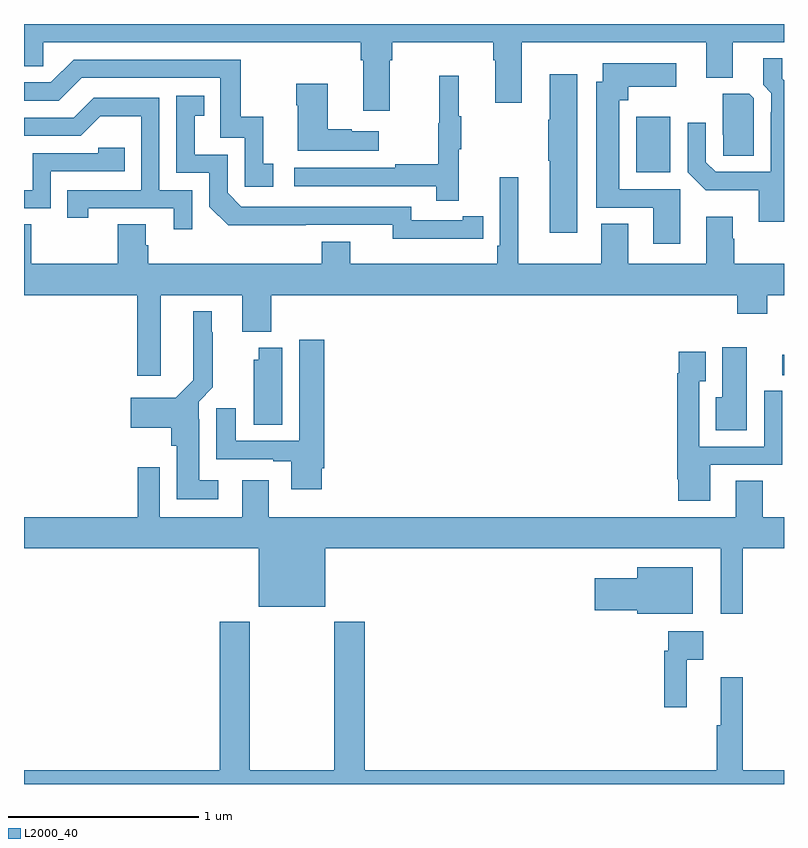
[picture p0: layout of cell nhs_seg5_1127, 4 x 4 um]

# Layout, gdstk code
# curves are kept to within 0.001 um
import gdstk
lib = gdstk.Library(unit=1e-6, precision=1e-09)
def R(c, l, rs):  # rectangles x0, y0, x1, y1
    for r in rs: c.add(gdstk.rectangle(r[:2], r[2:], *l))
def P(c, l, *ps):  # polygons
    for p in ps: c.add(gdstk.Polygon(p, *l))
L2000_40 = (2000, 40)

nhs_seg5_1127 = lib.new_cell('nhs_seg5_1127')
R(nhs_seg5_1127, L2000_40, [(182.991,910.95,183,911.059), (182.222,912.02,182.401,912.31)])
P(nhs_seg5_1127, L2000_40, [(180.925,912.608),(180.938,912.608),(180.938,912.704),(181.469,912.704),(181.469,912.608),(181.481,912.608),(181.481,912.384),(181.621,912.384),(181.621,912.704),(182.591,912.704),(182.591,912.517),(182.731,912.517),(182.731,912.704),(183,912.704),(183,912.799),(179,912.799),(179,912.577),(179.1,912.577),(179.1,912.704),(180.773,912.704),(180.773,912.608),(180.785,912.608),(180.785,912.342),(180.925,912.342)],
  [(183,912.504),(182.992,912.512),(182.992,912.619),(182.891,912.619),(182.891,912.478),(182.934,912.435),(182.934,912.335),(182.931,912.335),(182.931,912.021),(182.64,912.021),(182.589,912.072),(182.589,912.28),(182.493,912.28),(182.493,912.018),(182.587,911.924),(182.867,911.924),(182.867,911.757),(183,911.757)],
  [(180.313,912.063),(180.26,912.063),(180.26,912.31),(180.142,912.31),(180.142,912.612),(179.262,912.612),(179.142,912.492),(179,912.492),(179,912.396),(179.184,912.396),(179.304,912.516),(180.033,912.516),(180.033,912.201),(180.162,912.201),(180.162,911.943),(180.313,911.943)],
  [(182.455,911.928),(182.134,911.928),(182.134,912.398),(182.179,912.398),(182.179,912.47),(182.434,912.47),(182.434,912.592),(182.045,912.592),(182.045,912.496),(182.012,912.496),(182.012,911.832),(182.312,911.832),(182.312,911.643),(182.455,911.643)],
  [(181.912,912.535),(181.766,912.535),(181.766,912.296),(181.759,912.296),(181.759,912.079),(181.766,912.079),(181.766,911.7),(181.912,911.7)],
  [(181.289,912.139),(181.3,912.139),(181.3,912.313),(181.289,912.313),(181.289,912.526),(181.186,912.526),(181.186,912.276),(181.179,912.276),(181.179,912.062),(180.955,912.062),(180.955,912.042),(180.423,912.042),(180.423,911.946),(181.171,911.946),(181.171,911.868),(181.289,911.868)],
  [(180.868,912.235),(180.725,912.235),(180.725,912.245),(180.598,912.245),(180.598,912.484),(180.433,912.484),(180.433,912.371),(180.44,912.371),(180.44,912.131),(180.868,912.131)],
  [(182.841,912.408),(182.817,912.432),(182.678,912.432),(182.678,912.217),(182.679,912.217),(182.679,912.106),(182.841,912.106)],
  [(181.31,911.67),(181.418,911.67),(181.418,911.786),(181.31,911.786),(181.31,911.766),(181.038,911.766),(181.038,911.838),(180.144,911.838),(180.072,911.91),(180.072,912.111),(179.899,912.111),(179.899,912.315),(179.948,912.315),(179.948,912.421),(179.802,912.421),(179.802,912.015),(179.976,912.015),(179.976,911.838),(180.074,911.741),(180.942,911.742),(180.942,911.669)],
  [(179.886,911.925),(179.712,911.925),(179.712,912.411),(179.366,912.411),(179.261,912.306),(179,912.306),(179,912.21),(179.298,912.21),(179.402,912.314),(179.616,912.314),(179.616,911.925),(179.227,911.925),(179.227,911.778),(179.338,911.778),(179.338,911.829),(179.789,911.829),(179.789,911.718),(179.886,911.718)],
  [(179.142,912.024),(179.531,912.024),(179.531,912.147),(179.391,912.147),(179.391,912.12),(179.046,912.12),(179.046,911.925),(179,911.925),(179,911.829),(179.142,911.829)],
  [(182.753,911.273),(182.913,911.273),(182.913,911.372),(183,911.372),(183,911.536),(182.739,911.536),(182.739,911.669),(182.731,911.669),(182.731,911.785),(182.591,911.785),(182.591,911.536),(182.179,911.536),(182.179,911.747),(182.039,911.747),(182.039,911.536),(181.6,911.536),(181.6,911.992),(181.503,911.992),(181.503,911.632),(181.49,911.632),(181.49,911.536),(180.718,911.536),(180.718,911.653),(180.566,911.653),(180.566,911.536),(179.654,911.536),(179.654,911.634),(179.641,911.634),(179.641,911.744),(179.494,911.744),(179.494,911.536),(179.037,911.536),(179.037,911.744),(179,911.744),(179,911.372),(179.597,911.372),(179.597,910.947),(179.719,910.947),(179.719,911.372),(180.149,911.372),(180.149,911.18),(180.302,911.18),(180.302,911.372),(182.753,911.372)],
  [(180.022,910.399),(179.923,910.399),(179.923,910.718),(179.919,910.718),(179.919,910.812),(179.993,910.886),(179.993,911.177),(179.989,911.177),(179.989,911.287),(179.891,911.287),(179.892,910.924),(179.799,910.831),(179.562,910.831),(179.562,910.673),(179.774,910.673),(179.774,910.578),(179.804,910.578),(179.804,910.298),(180.022,910.298)],
  [(180.568,910.462),(180.581,910.462),(180.581,911.137),(180.449,911.137),(180.449,910.605),(180.115,910.605),(180.115,910.777),(180.011,910.777),(180.011,910.509),(180.311,910.509),(180.311,910.497),(180.407,910.497),(180.407,910.35),(180.568,910.35)],
  [(182.803,911.098),(182.675,911.098),(182.675,910.834),(182.642,910.834),(182.642,910.66),(182.803,910.66)],
  [(180.358,911.095),(180.236,911.095),(180.236,911.031),(180.209,911.031),(180.209,910.69),(180.358,910.69)],
  [(182.611,910.479),(182.991,910.479),(182.991,910.869),(182.895,910.869),(182.895,910.575),(182.553,910.575),(182.553,910.918),(182.587,910.918),(182.587,911.074),(182.445,911.074),(182.445,910.961),(182.437,910.961),(182.437,910.402),(182.444,910.402),(182.444,910.29),(182.611,910.29)],
  [(182.783,910.04),(183,910.04),(183,910.204),(182.887,910.204),(182.887,910.394),(182.747,910.394),(182.747,910.204),(180.289,910.204),(180.289,910.399),(180.149,910.399),(180.149,910.204),(179.715,910.204),(179.715,910.465),(179.599,910.465),(179.599,910.204),(179,910.204),(179,910.04),(180.236,910.04),(180.236,909.731),(180.586,909.731),(180.586,910.04),(182.666,910.04),(182.666,909.696),(182.783,909.696)],
  [(182.521,909.94),(182.228,909.94),(182.228,909.883),(182.004,909.883),(182.004,909.713),(182.228,909.713),(182.228,909.695),(182.521,909.695)],
  [(183,908.872),(182.783,908.872),(182.783,909.361),(182.666,909.361),(182.666,909.108),(182.647,909.108),(182.647,908.872),(180.794,908.872),(180.794,909.652),(180.634,909.652),(180.634,908.872),(180.189,908.872),(180.189,909.652),(180.029,909.652),(180.029,908.872),(179,908.872),(179,908.799),(183,908.799)],
  [(182.489,909.452),(182.575,909.452),(182.575,909.604),(182.391,909.604),(182.391,909.5),(182.371,909.5),(182.371,909.204),(182.489,909.204)])

lib.write_gds('nhs_seg5_1127.gds')
